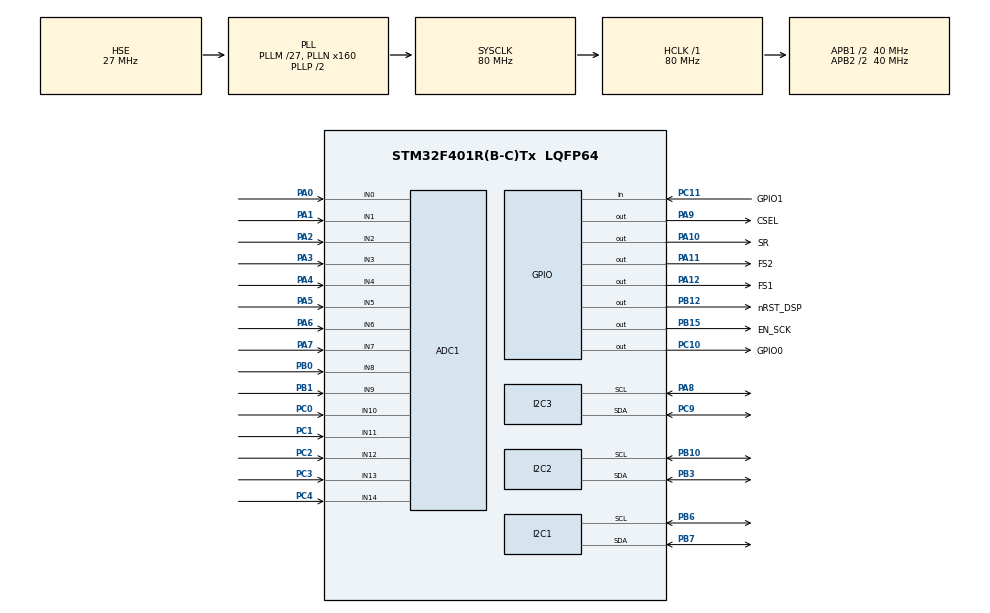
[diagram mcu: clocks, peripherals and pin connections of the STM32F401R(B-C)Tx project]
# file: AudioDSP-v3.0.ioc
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ADC1.Channel-0\#ChannelRegularConversion=ADC_CHANNEL_0
ADC1.Channel-1\#ChannelRegularConversion=ADC_CHANNEL_1
ADC1.Channel-10\#ChannelRegularConversion=ADC_CHANNEL_10
ADC1.Channel-11\#ChannelRegularConversion=ADC_CHANNEL_11
ADC1.Channel-12\#ChannelRegularConversion=ADC_CHANNEL_12
ADC1.Channel-13\#ChannelRegularConversion=ADC_CHANNEL_13
ADC1.Channel-14\#ChannelRegularConversion=ADC_CHANNEL_14
ADC1.Channel-2\#ChannelRegularConversion=ADC_CHANNEL_2
ADC1.Channel-3\#ChannelRegularConversion=ADC_CHANNEL_3
ADC1.Channel-4\#ChannelRegularConversion=ADC_CHANNEL_4
ADC1.Channel-5\#ChannelRegularConversion=ADC_CHANNEL_5
ADC1.Channel-6\#ChannelRegularConversion=ADC_CHANNEL_6
ADC1.Channel-7\#ChannelRegularConversion=ADC_CHANNEL_7
ADC1.Channel-8\#ChannelRegularConversion=ADC_CHANNEL_8
ADC1.Channel-9\#ChannelRegularConversion=ADC_CHANNEL_9
ADC1.EOCSelection=ADC_EOC_SEQ_CONV
ADC1.ExternalTrigConv=ADC_EXTERNALTRIGCONV_T2_TRGO
ADC1.NbrOfConversion=15
ADC1.NbrOfConversionFlag=1
ADC1.Rank-0\#ChannelRegularConversion=1
ADC1.Rank-1\#ChannelRegularConversion=2
ADC1.Rank-10\#ChannelRegularConversion=11
ADC1.Rank-11\#ChannelRegularConversion=12
ADC1.Rank-12\#ChannelRegularConversion=13
ADC1.Rank-13\#ChannelRegularConversion=14
ADC1.Rank-14\#ChannelRegularConversion=15
ADC1.Rank-2\#ChannelRegularConversion=3
ADC1.Rank-3\#ChannelRegularConversion=4
ADC1.Rank-4\#ChannelRegularConversion=5
ADC1.Rank-5\#ChannelRegularConversion=6
ADC1.Rank-6\#ChannelRegularConversion=7
ADC1.Rank-7\#ChannelRegularConversion=8
ADC1.Rank-8\#ChannelRegularConversion=9
ADC1.Rank-9\#ChannelRegularConversion=10
ADC1.SamplingTime-0\#ChannelRegularConversion=ADC_SAMPLETIME_84CYCLES
ADC1.SamplingTime-1\#ChannelRegularConversion=ADC_SAMPLETIME_84CYCLES
ADC1.SamplingTime-10\#ChannelRegularConversion=ADC_SAMPLETIME_84CYCLES
ADC1.SamplingTime-11\#ChannelRegularConversion=ADC_SAMPLETIME_84CYCLES
ADC1.SamplingTime-12\#ChannelRegularConversion=ADC_SAMPLETIME_84CYCLES
ADC1.SamplingTime-13\#ChannelRegularConversion=ADC_SAMPLETIME_84CYCLES
ADC1.SamplingTime-14\#ChannelRegularConversion=ADC_SAMPLETIME_84CYCLES
ADC1.SamplingTime-2\#ChannelRegularConversion=ADC_SAMPLETIME_84CYCLES
ADC1.SamplingTime-3\#ChannelRegularConversion=ADC_SAMPLETIME_84CYCLES
ADC1.SamplingTime-4\#ChannelRegularConversion=ADC_SAMPLETIME_84CYCLES
ADC1.SamplingTime-5\#ChannelRegularConversion=ADC_SAMPLETIME_84CYCLES
ADC1.SamplingTime-6\#ChannelRegularConversion=ADC_SAMPLETIME_84CYCLES
ADC1.SamplingTime-7\#ChannelRegularConversion=ADC_SAMPLETIME_84CYCLES
ADC1.SamplingTime-8\#ChannelRegularConversion=ADC_SAMPLETIME_84CYCLES
ADC1.SamplingTime-9\#ChannelRegularConversion=ADC_SAMPLETIME_84CYCLES
ADC1.ScanConvMode=ENABLE
ADC1.master=1
Dma.ADC1.0.Direction=DMA_PERIPH_TO_MEMORY
Dma.ADC1.0.FIFOMode=DMA_FIFOMODE_DISABLE
Dma.ADC1.0.Instance=DMA2_Stream0
Dma.ADC1.0.MemDataAlignment=DMA_MDATAALIGN_WORD
Dma.ADC1.0.MemInc=DMA_MINC_ENABLE
Dma.ADC1.0.Mode=DMA_CIRCULAR
Dma.ADC1.0.PeriphDataAlignment=DMA_PDATAALIGN_WORD
Dma.ADC1.0.PeriphInc=DMA_PINC_DISABLE
Dma.ADC1.0.Priority=DMA_PRIORITY_LOW
Dma.Request0=ADC1
I2C1.I2C_Mode=I2C_Fast
I2C2.I2C_Mode=I2C_Fast
Mcu.Family=STM32F4
Mcu.Name=STM32F401R(B-C)Tx
Mcu.Package=LQFP64
NVIC.DMA2_Stream0_IRQn=true\:0\:0\:false\:false\:true\:false\:true\:true
NVIC.PriorityGroup=NVIC_PRIORITYGROUP_4
PA0-WKUP.Signal=ADCx_IN0
PA1.Signal=ADCx_IN1
PA10.GPIO_Label=SR
PA10.GPIO_ModeDefaultOutputPP=GPIO_MODE_OUTPUT_PP
PA10.GPIO_PuPd=GPIO_PULLUP
PA10.GPIO_Speed=GPIO_SPEED_FREQ_HIGH
PA10.Signal=GPIO_Output
PA11.GPIO_Label=FS2
PA11.GPIO_ModeDefaultOutputPP=GPIO_MODE_OUTPUT_PP
PA11.GPIO_PuPd=GPIO_PULLUP
PA11.GPIO_Speed=GPIO_SPEED_FREQ_HIGH
PA11.Signal=GPIO_Output
PA12.GPIO_Label=FS1
PA12.GPIO_ModeDefaultOutputPP=GPIO_MODE_OUTPUT_PP
PA12.GPIO_PuPd=GPIO_PULLUP
PA12.GPIO_Speed=GPIO_SPEED_FREQ_HIGH
PA12.Signal=GPIO_Output
PA13.GPIO_Label=SWDIO
PA13.Mode=Serial_Wire
PA13.Signal=SYS_JTMS-SWDIO
PA14.GPIO_Label=SWCLK
PA14.Mode=Serial_Wire
PA14.Signal=SYS_JTCK-SWCLK
PA2.Signal=ADCx_IN2
PA3.Signal=ADCx_IN3
PA4.Signal=ADCx_IN4
PA5.Signal=ADCx_IN5
PA6.Signal=ADCx_IN6
PA7.Signal=ADCx_IN7
PA8.Mode=I2C
PA8.Signal=I2C3_SCL
PA9.GPIO_Label=CSEL
PA9.GPIO_ModeDefaultOutputPP=GPIO_MODE_OUTPUT_PP
PA9.GPIO_PuPd=GPIO_PULLUP
PA9.GPIO_Speed=GPIO_SPEED_FREQ_HIGH
PA9.Signal=GPIO_Output
PB0.Signal=ADCx_IN8
PB1.Signal=ADCx_IN9
PB10.Mode=I2C
PB10.Signal=I2C2_SCL
PB12.GPIO_Label=nRST_DSP
PB12.GPIO_ModeDefaultOutputPP=GPIO_MODE_OUTPUT_OD
PB12.GPIO_PuPd=GPIO_PULLUP
PB12.GPIO_Speed=GPIO_SPEED_FREQ_HIGH
PB12.PinState=GPIO_PIN_SET
PB12.Signal=GPIO_Output
PB15.GPIO_Label=EN_SCK
PB15.GPIO_ModeDefaultOutputPP=GPIO_MODE_OUTPUT_OD
PB15.GPIO_PuPd=GPIO_PULLUP
PB15.GPIO_Speed=GPIO_SPEED_FREQ_HIGH
PB15.Signal=GPIO_Output
PB3.Mode=I2C
PB3.Signal=I2C2_SDA
PB6.Mode=I2C
PB6.Signal=I2C1_SCL
PB7.Mode=I2C
PB7.Signal=I2C1_SDA
PC0.Signal=ADCx_IN10
PC1.Signal=ADCx_IN11
PC10.GPIO_Label=GPIO0
PC10.Signal=GPIO_Output
PC11.GPIO_Label=GPIO1
PC11.GPIO_PuPd=GPIO_PULLUP
PC11.Signal=GPIO_Input
PC2.Signal=ADCx_IN12
PC3.Signal=ADCx_IN13
PC4.Signal=ADCx_IN14
PC9.Mode=I2C
PC9.Signal=I2C3_SDA
PH0\ -\ OSC_IN.GPIO_Label=CLK_IN
PH0\ -\ OSC_IN.Mode=HSE-External-Clock-Source
PH0\ -\ OSC_IN.Signal=RCC_OSC_IN
PH1\ -\ OSC_OUT.Mode=HSE-External-Clock-Source
PH1\ -\ OSC_OUT.Signal=RCC_OSC_OUT
ProjectManager.HeapSize=0x200
ProjectManager.StackSize=0x400
ProjectManager.TargetToolchain=STM32CubeIDE
RCC.48MHZClocksFreq_Value=40000000
RCC.AHBFreq_Value=80000000
RCC.APB1CLKDivider=RCC_HCLK_DIV2
RCC.APB1Freq_Value=40000000
RCC.APB1TimFreq_Value=80000000
RCC.APB2CLKDivider=RCC_HCLK_DIV2
RCC.APB2Freq_Value=40000000
RCC.APB2TimFreq_Value=80000000
RCC.CortexFreq_Value=80000000
RCC.HCLKFreq_Value=80000000
RCC.HSE_VALUE=27000000
RCC.HSI_VALUE=16000000
RCC.LSE_VALUE=32768
RCC.PLLM=27
RCC.PLLN=160
RCC.PLLSourceVirtual=RCC_PLLSOURCE_HSE
RCC.SYSCLKFreq_VALUE=80000000
RCC.SYSCLKSource=RCC_SYSCLKSOURCE_PLLCLK
RCC.VCOOutputFreq_Value=160000000
SH.ADCx_IN0.0=ADC1_IN0,IN0
SH.ADCx_IN1.0=ADC1_IN1,IN1
SH.ADCx_IN10.0=ADC1_IN10,IN10
SH.ADCx_IN11.0=ADC1_IN11,IN11
SH.ADCx_IN12.0=ADC1_IN12,IN12
SH.ADCx_IN13.0=ADC1_IN13,IN13
SH.ADCx_IN14.0=ADC1_IN14,IN14
SH.ADCx_IN2.0=ADC1_IN2,IN2
SH.ADCx_IN3.0=ADC1_IN3,IN3
SH.ADCx_IN4.0=ADC1_IN4,IN4
SH.ADCx_IN5.0=ADC1_IN5,IN5
SH.ADCx_IN6.0=ADC1_IN6,IN6
SH.ADCx_IN7.0=ADC1_IN7,IN7
SH.ADCx_IN8.0=ADC1_IN8,IN8
SH.ADCx_IN9.0=ADC1_IN9,IN9
TIM2.Period=500-1
TIM2.Prescaler=8000
TIM2.TIM_MasterOutputTrigger=TIM_TRGO_UPDATE
TIM4.AutoReloadPreload=TIM_AUTORELOAD_PRELOAD_DISABLE
TIM4.Period=123
TIM4.Prescaler=80 - 1
VP_TIM2_VS_ClockSourceINT.Mode=Internal
VP_TIM4_VS_ClockSourceINT.Mode=Internal
board=custom

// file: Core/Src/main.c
/* USER CODE BEGIN Header */
/**
  ******************************************************************************
  * @file           : main.c
  * @brief          : Main program body
  ******************************************************************************
  * @attention
  *
  * <h2><center>&copy; Copyright (c) 2023 STMicroelectronics.
  * All rights reserved.</center></h2>
  *
  * This software component is licensed by ST under BSD 3-Clause license,
  * the "License"; You may not use this file except in compliance with the
  * License. You may obtain a copy of the License at:
  *                        opensource.org/licenses/BSD-3-Clause
  *
  ******************************************************************************
  */
/* USER CODE END Header */
#include "main.h"

/* USER CODE BEGIN Includes */
#include "DSP/SigmaStudioFW.h"

#include "DSP/DSP_IC_1.h"
#include "DSP/DSP_IC_1_PARAM.h"

#include "math.h"
/* USER CODE END Includes */

/* USER CODE BEGIN PD */
#define ADC_POT 15
#define VOL_ARRAY 11
#define LOUD_LOW_ARRAY 12
#define LOUD_HIGH_ARRAY 13
#define LOUD_GRL_ARRAY 14

#define ADC_ADDR 0x94
#define DAC_ADDR 0x98
/* USER CODE END PD */

ADC_HandleTypeDef hadc1;
DMA_HandleTypeDef hdma_adc1;

I2C_HandleTypeDef hi2c1;
I2C_HandleTypeDef hi2c2;
I2C_HandleTypeDef hi2c3;

TIM_HandleTypeDef htim2;
TIM_HandleTypeDef htim4;

/* USER CODE BEGIN PV */
HAL_StatusTypeDef stat;

uint8_t auxData[2];

uint32_t value[ADC_POT]; // To store ADC values
uint16_t pote[ADC_POT];  // Potentiometer values 0-29
uint16_t log_in_table[30];
uint16_t linear_in_table[30];
uint16_t flag[ADC_POT];  // Flag for different potentiometers
uint8_t update = 0;

ADI_REG_TYPE aux[4];
ADI_REG_TYPE data_SafeLoad[4]; // Per slot
ADI_REG_TYPE address_SafeLoad[4]; // 2 Bytes per address
ADI_REG_TYPE num_SafeLoad[4];
/* USER CODE END PV */

void SystemClock_Config(void);
static void MX_GPIO_Init(void);
static void MX_DMA_Init(void);
static void MX_I2C2_Init(void);
static void MX_I2C3_Init(void);
static void MX_ADC1_Init(void);
static void MX_I2C1_Init(void);
static void MX_TIM2_Init(void);
static void MX_TIM4_Init(void);
/* USER CODE BEGIN PFP */
void HAL_ADC_ConvCpltCallback(ADC_HandleTypeDef* hadc);
void delay_us(uint16_t us);
/* USER CODE END PFP */

int main(void)
{
  /* USER CODE BEGIN 1 */
	  uint16_t k = 0;
	  uint16_t pote_aux = 0;
	  uint16_t BandAddress[ADC_POT]; // Addresses of filters
	  uint32_t vol_data[30]; // Fixed volume values
	  uint32_t boost_data[30]; // Fixed boost loudness values
	  uint32_t comp_data[30]; // Fixed compensation values

	  BandAddress[0] = MOD_BAND32_SEL_DCINPALG145X1VALUE_ADDR;
	  BandAddress[1] = MOD_BAND64_SEL_DCINPALG145X2VALUE_ADDR;
	  BandAddress[2] = MOD_BAND128_SEL_DCINPALG145X3VALUE_ADDR;
	  BandAddress[3] = MOD_BAND256_SEL_DCINPALG145X4VALUE_ADDR;
	  BandAddress[4] = MOD_BAND512_SEL_DCINPALG145X5VALUE_ADDR;
	  BandAddress[5] = MOD_BAND1K_SEL_DCINPALG145X6VALUE_ADDR;
	  BandAddress[6] = MOD_BAND2K_SEL_DCINPALG145X7VALUE_ADDR;
	  BandAddress[7] = MOD_BAND4K_SEL_DCINPALG145X8VALUE_ADDR;
	  BandAddress[8] = MOD_BAND8K_SEL_DCINPALG145X9VALUE_ADDR;
	  BandAddress[9] = MOD_BAND16K_SEL_DCINPALG145X10VALUE_ADDR;
	  BandAddress[10] = MOD_BANDSUB_SEL_DCINPALG145X11VALUE_ADDR;
	  BandAddress[VOL_ARRAY] = MOD_VOL_GAINALGNS145X1GAIN_ADDR;
	  BandAddress[LOUD_LOW_ARRAY] = MOD_LOUD_ALG0_LEVEL0_ADDR;
	  BandAddress[LOUD_HIGH_ARRAY] = MOD_LOUD_ALG0_LEVEL1_ADDR;
	  BandAddress[LOUD_GRL_ARRAY] = MOD_LOUD_SEL_DCINPALG145X12VALUE_ADDR;

	  // 8.24 FixPoint
	  vol_data[29] = 0x01000000; // 0dB
	  vol_data[28] = 0x00e42904; // -1dB
	  vol_data[27] = 0x00cb5918; // -2dB
	  vol_data[26] = 0x00b53bee; // -3dB
	  vol_data[25] = 0x00a1866a; // -4dB
	  vol_data[24] = 0x008ff598; // -5dB
	  vol_data[23] = 0x00804dce; // -6dB
	  vol_data[22] = 0x006fbf80; // -7dB (-7.2dB)
	  vol_data[21] = 0x0065ea58; // -8dB
	  vol_data[20] = 0x005ad50c; // -9dB
	  vol_data[19] = 0x0050f44c; // -10dB
	  vol_data[18] = 0x0048268c; // -11dB
	  vol_data[17] = 0x00404de6; // -12dB
	  vol_data[16] = 0x00394fae; // -13dB
	  vol_data[15] = 0x00331426; // -14dB
	  vol_data[14] = 0x002d8620; // -15dB
	  vol_data[13] = 0x002892c0; // -16dB
	  vol_data[12] = 0x00242934; // -17dB
	  vol_data[11] = 0x00203a7e; // -18dB
	  vol_data[10] = 0x001cb942; // -19dB
	  vol_data[9] = 0x00199998; // -20dB
	  vol_data[8] = 0x0016d0e6; // -21dB
	  vol_data[7] = 0x001455b4; // -22dB
	  vol_data[6] = 0x00121f96; // -23dB
	  vol_data[5] = 0x0010270a; // -24dB
	  vol_data[4] = 0x000e655c; // -25dB
	  vol_data[3] = 0x000cd494; // -26dB
	  vol_data[2] = 0x000b6f62; // -27dB
	  vol_data[1] = 0x000a3108; // -28dB
	  vol_data[0] = 0x0009154e; // -29dB

	  // 8.24 Compensation FixPoint
	  comp_data[29] = 0x01000000; // 0dB
	  comp_data[28] = 0x011F3B64; // +1dB
	  comp_data[27] = 0x014248E8; // +2dB
	  comp_data[26] = 0x01699C0F; // +3dB
	  comp_data[25] = 0x0195BB8C; // +4dB
	  comp_data[24] = 0x01C73D51; // +5dB
	  comp_data[23] = 0x02000000; // +6dB
	  comp_data[22] = 0x023D1CD1; // +7dB
	  comp_data[21] = 0x02830AFD; // +8dB
	  comp_data[20] = 0x02D1818B; // +9dB
	  comp_data[19] = 0x03298B07; // +10dB
	  comp_data[18] = 0x038C5280; // +11dB
	  comp_data[17] = 0x03FB2783; // +12dB
	  comp_data[16] = 0x0477828F; // +13dB
	  comp_data[15] = 0x05030A10; // +14dB
	  comp_data[14] = 0x059F9802; // +15dB
	  comp_data[13] = 0x064F4034; // +16dB
	  comp_data[12] = 0x07145759; // +17dB
	  comp_data[11] = 0x07F17AF3; // +18dB
	  comp_data[10] = 0x08E99A36; // +19dB
	  comp_data[9] = 0x0A000000; // +20dB
	  comp_data[8] = 0x0B385E03; // +21dB
	  comp_data[7] = 0x0C96D95B; // +22dB
	  comp_data[6] = 0x0E20189B; // +23dB
	  comp_data[5] = 0x0FD9539A; // +24dB
	  comp_data[4] = 0x11C86531; // +25dB
	  comp_data[3] = 0x13F3DF1C; // +26dB
	  comp_data[2] = 0x16632049; // +27dB
	  comp_data[1] = 0x191E6DE4; // +28dB
	  comp_data[0] = 0x1C2F0F70; // +29dB

	  // 8.24 FixPoint
	  boost_data[29] = 0x02800000; // 2.50
	  boost_data[28] = 0x02666666; // 2.40
	  boost_data[27] = 0x02570a3c; // 2.34
	  boost_data[26] = 0x02451eb8; // 2.27
	  boost_data[25] = 0x02333332; // 2.20
	  boost_data[24] = 0x022147ae; // 2.13
	  boost_data[23] = 0x020f5c28; // 2.06
	  boost_data[22] = 0x02000000; // 2.00
	  boost_data[21] = 0x01ee147a; // 1.93
	  boost_data[20] = 0x01dc28f4; // 1.86
	  boost_data[19] = 0x01ca3d70; // 1.79
	  boost_data[18] = 0x01b851ea; // 1.72
	  boost_data[17] = 0x01a8f5c2; // 1.66
	  boost_data[16] = 0x01970a3c; // 1.59
	  boost_data[15] = 0x01851eb8; // 1.52
	  boost_data[14] = 0x01733332; // 1.45
	  boost_data[13] = 0x016147ae; // 1.38
	  boost_data[12] = 0x0151eb84; // 1.32
	  boost_data[11] = 0x01400000; // 1.25
	  boost_data[10] = 0x012e147a; // 1.18
	  boost_data[9] =  0x011c28f4; // 1.11
	  boost_data[8] =  0x010a3d70; // 1.04
	  boost_data[7] =  0x00fae146; // 0.98
	  boost_data[6] =  0x00e8f5c2; // 0.91
	  boost_data[5] =  0x00d70a3c; // 0.84
	  boost_data[4] =  0x00c51eb8; // 0.77
	  boost_data[3] =  0x00b33332; // 0.70
	  boost_data[2] =  0x00a3d70a; // 0.64
	  boost_data[1] =  0x0091eb84; // 0.57
	  boost_data[0] =  0x00800000; // 0.50

	  for(k=0; k<30; k++)
	  {
		  log_in_table[k] = 4096.0*log10(1.0+(3.0*k/10.0));
		  linear_in_table[k] = 4096*k/30;
	  }
  /* USER CODE END 1 */

  /* MCU Configuration--------------------------------------------------------*/

  /* Reset of all peripherals, Initializes the Flash interface and the Systick. */
  HAL_Init();

  /* Configure the system clock */
  SystemClock_Config();

  /* USER CODE BEGIN SysInit */
//  - Keeping this just to remember order
//  MX_GPIO_Init();
//  MX_I2C1_Init();
//  MX_DMA_Init();
//  MX_I2C2_Init();
//  MX_ADC1_Init();
//  MX_I2C3_Init();
//  MX_TIM2_Init();
  /* USER CODE END SysInit */

  /* Initialize all configured peripherals */
  MX_GPIO_Init();
  MX_DMA_Init();
  MX_I2C2_Init();
  MX_I2C3_Init();
  MX_ADC1_Init();
  MX_I2C1_Init();
  MX_TIM2_Init();
  MX_TIM4_Init();
  /* USER CODE BEGIN 2 */
  HAL_TIM_Base_Start(&htim4);
  // Disable DSP
  HAL_GPIO_WritePin(nRST_DSP_GPIO_Port, nRST_DSP_Pin, GPIO_PIN_RESET);

  // Disable CLK
  HAL_GPIO_WritePin(EN_SCK_GPIO_Port, EN_SCK_Pin, GPIO_PIN_RESET);

  // Configure Sampling Rate SR = Standard => 0
  //							  Double   => 1
  HAL_GPIO_WritePin(SR_GPIO_Port, SR_Pin, GPIO_PIN_SET);
  // Configure System Clock SCKO1 CSEL = 0 (default)
  HAL_GPIO_WritePin(CSEL_GPIO_Port, CSEL_Pin, GPIO_PIN_RESET);
  // Configure Sampling Frequency Group = 32KHz => 10
  HAL_GPIO_WritePin(FS2_GPIO_Port, FS2_Pin, GPIO_PIN_SET);
  HAL_GPIO_WritePin(FS1_GPIO_Port, FS1_Pin, GPIO_PIN_RESET);

  // Enable CLK
  HAL_GPIO_WritePin(EN_SCK_GPIO_Port, EN_SCK_Pin, GPIO_PIN_SET);

  HAL_Delay(500);

  // Configure DAC format to I2S 16-24 bit, slow roll-off
  auxData[0] = 0b00000100;
  auxData[1] = 0x00;
  stat = HAL_I2C_Mem_Write(&hi2c3, DAC_ADDR, 0x09, 1, auxData, 1, 1000);

  auxData[0] = 0b00101001;
  auxData[1] = 0x00;
  stat = HAL_I2C_Mem_Write(&hi2c3, DAC_ADDR, 0x0A, 1, auxData, 1, 1000);

  // Configure DAC over-sampling wide, sharp roll-off
  auxData[0] = 0b10000000;
  auxData[1] = 0x00;
  stat = HAL_I2C_Mem_Write(&hi2c3, DAC_ADDR, 0x0C, 1, auxData, 1, 1000);

  // Enable DSP
  HAL_GPIO_WritePin(nRST_DSP_GPIO_Port, nRST_DSP_Pin, GPIO_PIN_SET);

  HAL_Delay(100);

  default_download_IC_1();
  HAL_Delay(500);
  //Configure ADCs clock settings
//  auxData[0] = 0b01000000;
//  stat = HAL_I2C_Mem_Write(&hi2c1, ADC_ADDR, 0x20, 1, auxData, 1, 1000);
//
//  auxData[0] = 0b00000001;
//  stat = HAL_I2C_Mem_Write(&hi2c1, ADC_ADDR, 0x0D, 1, auxData, 1, 1000);
//  stat = HAL_I2C_Mem_Write(&hi2c2, ADC_ADDR, 0x0D, 1, auxData, 1, 1000);
//  stat = HAL_I2C_Mem_Write(&hi2c3, ADC_ADDR, 0x0D, 1, auxData, 1, 1000);
//
//  stat = HAL_I2C_Mem_Write(&hi2c1, ADC_ADDR, 0x0E, 1, auxData, 1, 1000);
//  stat = HAL_I2C_Mem_Write(&hi2c2, ADC_ADDR, 0x0E, 1, auxData, 1, 1000);
//  stat = HAL_I2C_Mem_Write(&hi2c3, ADC_ADDR, 0x0E, 1, auxData, 1, 1000);

  for(k=0; k<ADC_POT; k++)
  {
	  flag[k] = 1;
  }

  HAL_TIM_Base_Start(&htim2);
  HAL_ADC_Start_DMA(&hadc1, value, ADC_POT);

  HAL_Delay(3000);

  /* USER CODE END 2 */

  /* Infinite loop */
  while (1)
  {

    /* USER CODE BEGIN 3 */
	  data_SafeLoad[2] = 0x00;
	  data_SafeLoad[1] = 0x00;
	  data_SafeLoad[0] = 0x00;

	  address_SafeLoad[1] = 0x00;
	  address_SafeLoad[0] = 0x00;

	  num_SafeLoad[3] = 0x01;
 	  num_SafeLoad[2] = 0x00;
	  num_SafeLoad[1] = 0x00;
	  num_SafeLoad[0] = 0x00;

	  if(update == 1)
	  {
		  for(k=0; k<VOL_ARRAY; k++) // Filters 32Hz - 16KHz + Subwoofer
		  {
			  if(flag[k] == 1)
			  {
				  flag[k] = 0;
				  data_SafeLoad[3] = 29 - pote[k];
				  address_SafeLoad[3] = 0xFF & (BandAddress[k]);
				  address_SafeLoad[2] = 0xFF & ((BandAddress[k])>>8);
				  SIGMA_WRITE_REGISTER_BLOCK(DEVICE_ADDR_IC_1, MOD_SAFELOADMODULE_DATA_SAFELOAD0_ADDR, 4, data_SafeLoad);
				  SIGMA_WRITE_REGISTER_BLOCK(DEVICE_ADDR_IC_1, MOD_SAFELOADMODULE_ADDRESS_SAFELOAD_ADDR, 4, address_SafeLoad);
				  SIGMA_WRITE_REGISTER_BLOCK(DEVICE_ADDR_IC_1, MOD_SAFELOADMODULE_NUM_SAFELOAD_ADDR, 4, num_SafeLoad);
				  delay_us(100);
			  }

		  }

		  if(flag[VOL_ARRAY] == 1)
		  {
			  flag[VOL_ARRAY] = 0;
			  pote_aux = 29 - pote[VOL_ARRAY];

			  data_SafeLoad[3] = 0xFF & (vol_data[pote_aux]);
			  data_SafeLoad[2] = 0xFF & ((vol_data[pote_aux])>>8);
			  data_SafeLoad[1] = 0xFF & ((vol_data[pote_aux])>>16);
			  data_SafeLoad[0] = 0xFF & ((vol_data[pote_aux])>>24);
			  address_SafeLoad[3] = 0xFF & (BandAddress[VOL_ARRAY]);
			  address_SafeLoad[2] = 0xFF & ((BandAddress[VOL_ARRAY])>>8);
			  SIGMA_WRITE_REGISTER_BLOCK(DEVICE_ADDR_IC_1, MOD_SAFELOADMODULE_DATA_SAFELOAD0_ADDR, 4, data_SafeLoad);
			  SIGMA_WRITE_REGISTER_BLOCK(DEVICE_ADDR_IC_1, MOD_SAFELOADMODULE_ADDRESS_SAFELOAD_ADDR, 4, address_SafeLoad);
			  SIGMA_WRITE_REGISTER_BLOCK(DEVICE_ADDR_IC_1, MOD_SAFELOADMODULE_NUM_SAFELOAD_ADDR, 4, num_SafeLoad);
			  delay_us(100);
		  }

		  if(flag[LOUD_LOW_ARRAY] == 1)
		  {
			  flag[LOUD_LOW_ARRAY] = 0;
			  pote_aux = 29 - pote[LOUD_LOW_ARRAY];

			  data_SafeLoad[3] = 0xFF & (boost_data[pote_aux]);
			  data_SafeLoad[2] = 0xFF & ((boost_data[pote_aux])>>8);
			  data_SafeLoad[1] = 0xFF & ((boost_data[pote_aux])>>16);
			  data_SafeLoad[0] = 0xFF & ((boost_data[pote_aux])>>24);
			  address_SafeLoad[3] = 0xFF & (BandAddress[LOUD_LOW_ARRAY]);
			  address_SafeLoad[2] = 0xFF & ((BandAddress[LOUD_LOW_ARRAY])>>8);
			  SIGMA_WRITE_REGISTER_BLOCK(DEVICE_ADDR_IC_1, MOD_SAFELOADMODULE_DATA_SAFELOAD0_ADDR, 4, data_SafeLoad);
			  SIGMA_WRITE_REGISTER_BLOCK(DEVICE_ADDR_IC_1, MOD_SAFELOADMODULE_ADDRESS_SAFELOAD_ADDR, 4, address_SafeLoad);
			  SIGMA_WRITE_REGISTER_BLOCK(DEVICE_ADDR_IC_1, MOD_SAFELOADMODULE_NUM_SAFELOAD_ADDR, 4, num_SafeLoad);
			  delay_us(100);
		  }

		  if(flag[LOUD_HIGH_ARRAY] == 1)
		  {
			  flag[LOUD_HIGH_ARRAY] = 0;
			  pote_aux = 29 - pote[LOUD_HIGH_ARRAY];

			  data_SafeLoad[3] = 0xFF & (boost_data[pote_aux]);
			  data_SafeLoad[2] = 0xFF & ((boost_data[pote_aux])>>8);
			  data_SafeLoad[1] = 0xFF & ((boost_data[pote_aux])>>16);
			  data_SafeLoad[0] = 0xFF & ((boost_data[pote_aux])>>24);
			  address_SafeLoad[3] = 0xFF & (BandAddress[LOUD_HIGH_ARRAY]);
			  address_SafeLoad[2] = 0xFF & ((BandAddress[LOUD_HIGH_ARRAY])>>8);
			  SIGMA_WRITE_REGISTER_BLOCK(DEVICE_ADDR_IC_1, MOD_SAFELOADMODULE_DATA_SAFELOAD0_ADDR, 4, data_SafeLoad);
			  SIGMA_WRITE_REGISTER_BLOCK(DEVICE_ADDR_IC_1, MOD_SAFELOADMODULE_ADDRESS_SAFELOAD_ADDR, 4, address_SafeLoad);
			  SIGMA_WRITE_REGISTER_BLOCK(DEVICE_ADDR_IC_1, MOD_SAFELOADMODULE_NUM_SAFELOAD_ADDR, 4, num_SafeLoad);
			  delay_us(100);
		  }

		  if(flag[LOUD_GRL_ARRAY] == 1)
		  {
			  flag[LOUD_GRL_ARRAY] = 0;
			  pote_aux = pote[LOUD_GRL_ARRAY];

			  data_SafeLoad[3] = 0xFF & (vol_data[pote_aux]);
			  data_SafeLoad[2] = 0xFF & ((vol_data[pote_aux])>>8);
			  data_SafeLoad[1] = 0xFF & ((vol_data[pote_aux])>>16);
			  data_SafeLoad[0] = 0xFF & ((vol_data[pote_aux])>>24);
			  address_SafeLoad[3] = 0xFF & (BandAddress[LOUD_GRL_ARRAY]);
			  address_SafeLoad[2] = 0xFF & ((BandAddress[LOUD_GRL_ARRAY])>>8);
			  SIGMA_WRITE_REGISTER_BLOCK(DEVICE_ADDR_IC_1, MOD_SAFELOADMODULE_DATA_SAFELOAD0_ADDR, 4, data_SafeLoad);
			  SIGMA_WRITE_REGISTER_BLOCK(DEVICE_ADDR_IC_1, MOD_SAFELOADMODULE_ADDRESS_SAFELOAD_ADDR, 4, address_SafeLoad);
			  SIGMA_WRITE_REGISTER_BLOCK(DEVICE_ADDR_IC_1, MOD_SAFELOADMODULE_NUM_SAFELOAD_ADDR, 4, num_SafeLoad);
			  delay_us(100);

			  data_SafeLoad[3] = 0xFF & (comp_data[pote_aux]);
			  data_SafeLoad[2] = 0xFF & ((comp_data[pote_aux])>>8);
			  data_SafeLoad[1] = 0xFF & ((comp_data[pote_aux])>>16);
			  data_SafeLoad[0] = 0xFF & ((comp_data[pote_aux])>>24);
			  address_SafeLoad[3] = 0xFF & (MOD_LOUDCOMP_GAINALGNS145X2GAIN_ADDR);
			  address_SafeLoad[2] = 0xFF & ((MOD_LOUDCOMP_GAINALGNS145X2GAIN_ADDR)>>8);
			  SIGMA_WRITE_REGISTER_BLOCK(DEVICE_ADDR_IC_1, MOD_SAFELOADMODULE_DATA_SAFELOAD0_ADDR, 4, data_SafeLoad);
			  SIGMA_WRITE_REGISTER_BLOCK(DEVICE_ADDR_IC_1, MOD_SAFELOADMODULE_ADDRESS_SAFELOAD_ADDR, 4, address_SafeLoad);
			  SIGMA_WRITE_REGISTER_BLOCK(DEVICE_ADDR_IC_1, MOD_SAFELOADMODULE_NUM_SAFELOAD_ADDR, 4, num_SafeLoad);
			  delay_us(100);
		  }

		  update = 0;
		  HAL_ADC_Start_DMA(&hadc1, value, ADC_POT);
	  }

  }
  /* USER CODE END 3 */
}

void SystemClock_Config(void)
{
  RCC_OscInitTypeDef RCC_OscInitStruct = {0};
  RCC_ClkInitTypeDef RCC_ClkInitStruct = {0};

  /** Configure the main internal regulator output voltage
  */
  __HAL_RCC_PWR_CLK_ENABLE();
  __HAL_PWR_VOLTAGESCALING_CONFIG(PWR_REGULATOR_VOLTAGE_SCALE2);
  /** Initializes the RCC Oscillators according to the specified parameters
  * in the RCC_OscInitTypeDef structure.
  */
  RCC_OscInitStruct.OscillatorType = RCC_OSCILLATORTYPE_HSE;
  RCC_OscInitStruct.HSEState = RCC_HSE_BYPASS;
  RCC_OscInitStruct.PLL.PLLState = RCC_PLL_ON;
  RCC_OscInitStruct.PLL.PLLSource = RCC_PLLSOURCE_HSE;
  RCC_OscInitStruct.PLL.PLLM = 27;
  RCC_OscInitStruct.PLL.PLLN = 160;
  RCC_OscInitStruct.PLL.PLLP = RCC_PLLP_DIV2;
  RCC_OscInitStruct.PLL.PLLQ = 4;
  if (HAL_RCC_OscConfig(&RCC_OscInitStruct) != HAL_OK)
  {
    Error_Handler();
  }
  /** Initializes the CPU, AHB and APB buses clocks
  */
  RCC_ClkInitStruct.ClockType = RCC_CLOCKTYPE_HCLK|RCC_CLOCKTYPE_SYSCLK
                              |RCC_CLOCKTYPE_PCLK1|RCC_CLOCKTYPE_PCLK2;
  RCC_ClkInitStruct.SYSCLKSource = RCC_SYSCLKSOURCE_PLLCLK;
  RCC_ClkInitStruct.AHBCLKDivider = RCC_SYSCLK_DIV1;
  RCC_ClkInitStruct.APB1CLKDivider = RCC_HCLK_DIV2;
  RCC_ClkInitStruct.APB2CLKDivider = RCC_HCLK_DIV2;

  if (HAL_RCC_ClockConfig(&RCC_ClkInitStruct, FLASH_LATENCY_2) != HAL_OK)
  {
    Error_Handler();
  }
}

static void MX_ADC1_Init(void)
{

  ADC_ChannelConfTypeDef sConfig = {0};

  /** Configure the global features of the ADC (Clock, Resolution, Data Alignment and number of conversion)
  */
  hadc1.Instance = ADC1;
  hadc1.Init.ClockPrescaler = ADC_CLOCK_SYNC_PCLK_DIV2;
  hadc1.Init.Resolution = ADC_RESOLUTION_12B;
  hadc1.Init.ScanConvMode = ENABLE;
  hadc1.Init.ContinuousConvMode = DISABLE;
  hadc1.Init.DiscontinuousConvMode = DISABLE;
  hadc1.Init.ExternalTrigConvEdge = ADC_EXTERNALTRIGCONVEDGE_RISING;
  hadc1.Init.ExternalTrigConv = ADC_EXTERNALTRIGCONV_T2_TRGO;
  hadc1.Init.DataAlign = ADC_DATAALIGN_RIGHT;
  hadc1.Init.NbrOfConversion = 15;
  hadc1.Init.DMAContinuousRequests = DISABLE;
  hadc1.Init.EOCSelection = ADC_EOC_SEQ_CONV;
  if (HAL_ADC_Init(&hadc1) != HAL_OK)
  {
    Error_Handler();
  }
  /** Configure for the selected ADC regular channel its corresponding rank in the sequencer and its sample time.
  */
  sConfig.Channel = ADC_CHANNEL_0;
  sConfig.Rank = 1;
  sConfig.SamplingTime = ADC_SAMPLETIME_84CYCLES;
  if (HAL_ADC_ConfigChannel(&hadc1, &sConfig) != HAL_OK)
  {
    Error_Handler();
  }
  /** Configure for the selected ADC regular channel its corresponding rank in the sequencer and its sample time.
  */
  sConfig.Channel = ADC_CHANNEL_1;
  sConfig.Rank = 2;
  if (HAL_ADC_ConfigChannel(&hadc1, &sConfig) != HAL_OK)
  {
    Error_Handler();
  }
  /** Configure for the selected ADC regular channel its corresponding rank in the sequencer and its sample time.
  */
  sConfig.Channel = ADC_CHANNEL_2;
  sConfig.Rank = 3;
  if (HAL_ADC_ConfigChannel(&hadc1, &sConfig) != HAL_OK)
  {
    Error_Handler();
  }
  /** Configure for the selected ADC regular channel its corresponding rank in the sequencer and its sample time.
  */
  sConfig.Channel = ADC_CHANNEL_3;
  sConfig.Rank = 4;
  if (HAL_ADC_ConfigChannel(&hadc1, &sConfig) != HAL_OK)
  {
    Error_Handler();
  }
  /** Configure for the selected ADC regular channel its corresponding rank in the sequencer and its sample time.
  */
  sConfig.Channel = ADC_CHANNEL_4;
  sConfig.Rank = 5;
  if (HAL_ADC_ConfigChannel(&hadc1, &sConfig) != HAL_OK)
  {
    Error_Handler();
  }
  /** Configure for the selected ADC regular channel its corresponding rank in the sequencer and its sample time.
  */
  sConfig.Channel = ADC_CHANNEL_5;
  sConfig.Rank = 6;
  if (HAL_ADC_ConfigChannel(&hadc1, &sConfig) != HAL_OK)
  {
    Error_Handler();
  }
  /** Configure for the selected ADC regular channel its corresponding rank in the sequencer and its sample time.
  */
  sConfig.Channel = ADC_CHANNEL_6;
  sConfig.Rank = 7;
  if (HAL_ADC_ConfigChannel(&hadc1, &sConfig) != HAL_OK)
  {
    Error_Handler();
  }
  /** Configure for the selected ADC regular channel its corresponding rank in the sequencer and its sample time.
  */
  sConfig.Channel = ADC_CHANNEL_7;
  sConfig.Rank = 8;
  if (HAL_ADC_ConfigChannel(&hadc1, &sConfig) != HAL_OK)
  {
    Error_Handler();
  }
  /** Configure for the selected ADC regular channel its corresponding rank in the sequencer and its sample time.
  */
  sConfig.Channel = ADC_CHANNEL_8;
  sConfig.Rank = 9;
  if (HAL_ADC_ConfigChannel(&hadc1, &sConfig) != HAL_OK)
  {
    Error_Handler();
  }
  /** Configure for the selected ADC regular channel its corresponding rank in the sequencer and its sample time.
  */
  sConfig.Channel = ADC_CHANNEL_9;
  sConfig.Rank = 10;
  if (HAL_ADC_ConfigChannel(&hadc1, &sConfig) != HAL_OK)
  {
    Error_Handler();
  }
  /** Configure for the selected ADC regular channel its corresponding rank in the sequencer and its sample time.
  */
  sConfig.Channel = ADC_CHANNEL_10;
  sConfig.Rank = 11;
  if (HAL_ADC_ConfigChannel(&hadc1, &sConfig) != HAL_OK)
  {
    Error_Handler();
  }
  /** Configure for the selected ADC regular channel its corresponding rank in the sequencer and its sample time.
  */
  sConfig.Channel = ADC_CHANNEL_11;
  sConfig.Rank = 12;
  if (HAL_ADC_ConfigChannel(&hadc1, &sConfig) != HAL_OK)
  {
    Error_Handler();
  }
  /** Configure for the selected ADC regular channel its corresponding rank in the sequencer and its sample time.
  */
  sConfig.Channel = ADC_CHANNEL_12;
  sConfig.Rank = 13;
  if (HAL_ADC_ConfigChannel(&hadc1, &sConfig) != HAL_OK)
  {
    Error_Handler();
  }
  /** Configure for the selected ADC regular channel its corresponding rank in the sequencer and its sample time.
  */
  sConfig.Channel = ADC_CHANNEL_13;
  sConfig.Rank = 14;
  if (HAL_ADC_ConfigChannel(&hadc1, &sConfig) != HAL_OK)
  {
    Error_Handler();
  }
  /** Configure for the selected ADC regular channel its corresponding rank in the sequencer and its sample time.
  */
  sConfig.Channel = ADC_CHANNEL_14;
  sConfig.Rank = 15;
  if (HAL_ADC_ConfigChannel(&hadc1, &sConfig) != HAL_OK)
  {
    Error_Handler();
  }

}

static void MX_I2C1_Init(void)
{

  hi2c1.Instance = I2C1;
  hi2c1.Init.ClockSpeed = 400000;
  hi2c1.Init.DutyCycle = I2C_DUTYCYCLE_2;
  hi2c1.Init.OwnAddress1 = 0;
  hi2c1.Init.AddressingMode = I2C_ADDRESSINGMODE_7BIT;
  hi2c1.Init.DualAddressMode = I2C_DUALADDRESS_DISABLE;
  hi2c1.Init.OwnAddress2 = 0;
  hi2c1.Init.GeneralCallMode = I2C_GENERALCALL_DISABLE;
  hi2c1.Init.NoStretchMode = I2C_NOSTRETCH_DISABLE;
  if (HAL_I2C_Init(&hi2c1) != HAL_OK)
  {
    Error_Handler();
  }

}

static void MX_I2C2_Init(void)
{

  hi2c2.Instance = I2C2;
  hi2c2.Init.ClockSpeed = 400000;
  hi2c2.Init.DutyCycle = I2C_DUTYCYCLE_2;
  hi2c2.Init.OwnAddress1 = 0;
  hi2c2.Init.AddressingMode = I2C_ADDRESSINGMODE_7BIT;
  hi2c2.Init.DualAddressMode = I2C_DUALADDRESS_DISABLE;
  hi2c2.Init.OwnAddress2 = 0;
  hi2c2.Init.GeneralCallMode = I2C_GENERALCALL_DISABLE;
  hi2c2.Init.NoStretchMode = I2C_NOSTRETCH_DISABLE;
  if (HAL_I2C_Init(&hi2c2) != HAL_OK)
  {
    Error_Handler();
  }

}

static void MX_I2C3_Init(void)
{

  hi2c3.Instance = I2C3;
  hi2c3.Init.ClockSpeed = 100000;
  hi2c3.Init.DutyCycle = I2C_DUTYCYCLE_2;
  hi2c3.Init.OwnAddress1 = 0;
  hi2c3.Init.AddressingMode = I2C_ADDRESSINGMODE_7BIT;
  hi2c3.Init.DualAddressMode = I2C_DUALADDRESS_DISABLE;
  hi2c3.Init.OwnAddress2 = 0;
  hi2c3.Init.GeneralCallMode = I2C_GENERALCALL_DISABLE;
  hi2c3.Init.NoStretchMode = I2C_NOSTRETCH_DISABLE;
  if (HAL_I2C_Init(&hi2c3) != HAL_OK)
  {
    Error_Handler();
  }

}

static void MX_TIM2_Init(void)
{

  TIM_ClockConfigTypeDef sClockSourceConfig = {0};
  TIM_MasterConfigTypeDef sMasterConfig = {0};

  htim2.Instance = TIM2;
  htim2.Init.Prescaler = 8000;
  htim2.Init.CounterMode = TIM_COUNTERMODE_UP;
  htim2.Init.Period = 500-1;
  htim2.Init.ClockDivision = TIM_CLOCKDIVISION_DIV1;
  htim2.Init.AutoReloadPreload = TIM_AUTORELOAD_PRELOAD_DISABLE;
  if (HAL_TIM_Base_Init(&htim2) != HAL_OK)
  {
    Error_Handler();
  }
  sClockSourceConfig.ClockSource = TIM_CLOCKSOURCE_INTERNAL;
  if (HAL_TIM_ConfigClockSource(&htim2, &sClockSourceConfig) != HAL_OK)
  {
    Error_Handler();
  }
  sMasterConfig.MasterOutputTrigger = TIM_TRGO_UPDATE;
  sMasterConfig.MasterSlaveMode = TIM_MASTERSLAVEMODE_DISABLE;
  if (HAL_TIMEx_MasterConfigSynchronization(&htim2, &sMasterConfig) != HAL_OK)
  {
    Error_Handler();
  }

}

static void MX_TIM4_Init(void)
{

  TIM_ClockConfigTypeDef sClockSourceConfig = {0};
  TIM_MasterConfigTypeDef sMasterConfig = {0};

  htim4.Instance = TIM4;
  htim4.Init.Prescaler = 80 - 1;
  htim4.Init.CounterMode = TIM_COUNTERMODE_UP;
  htim4.Init.Period = 123;
  htim4.Init.ClockDivision = TIM_CLOCKDIVISION_DIV1;
  htim4.Init.AutoReloadPreload = TIM_AUTORELOAD_PRELOAD_DISABLE;
  if (HAL_TIM_Base_Init(&htim4) != HAL_OK)
  {
    Error_Handler();
  }
  sClockSourceConfig.ClockSource = TIM_CLOCKSOURCE_INTERNAL;
  if (HAL_TIM_ConfigClockSource(&htim4, &sClockSourceConfig) != HAL_OK)
  {
    Error_Handler();
  }
  sMasterConfig.MasterOutputTrigger = TIM_TRGO_RESET;
  sMasterConfig.MasterSlaveMode = TIM_MASTERSLAVEMODE_DISABLE;
  if (HAL_TIMEx_MasterConfigSynchronization(&htim4, &sMasterConfig) != HAL_OK)
  {
    Error_Handler();
  }

}

static void MX_DMA_Init(void)
{

  /* DMA controller clock enable */
  __HAL_RCC_DMA2_CLK_ENABLE();

  /* DMA interrupt init */
  /* DMA2_Stream0_IRQn interrupt configuration */
  HAL_NVIC_SetPriority(DMA2_Stream0_IRQn, 0, 0);
  HAL_NVIC_EnableIRQ(DMA2_Stream0_IRQn);

}

static void MX_GPIO_Init(void)
{
  GPIO_InitTypeDef GPIO_InitStruct = {0};

  /* GPIO Ports Clock Enable */
  __HAL_RCC_GPIOH_CLK_ENABLE();
  __HAL_RCC_GPIOC_CLK_ENABLE();
  __HAL_RCC_GPIOA_CLK_ENABLE();
  __HAL_RCC_GPIOB_CLK_ENABLE();

  /*Configure GPIO pin Output Level */
  HAL_GPIO_WritePin(nRST_DSP_GPIO_Port, nRST_DSP_Pin, GPIO_PIN_SET);

  /*Configure GPIO pin Output Level */
  HAL_GPIO_WritePin(EN_SCK_GPIO_Port, EN_SCK_Pin, GPIO_PIN_RESET);

  /*Configure GPIO pin Output Level */
  HAL_GPIO_WritePin(GPIOA, CSEL_Pin|SR_Pin|FS2_Pin|FS1_Pin, GPIO_PIN_RESET);

  /*Configure GPIO pin Output Level */
  HAL_GPIO_WritePin(GPIO0_GPIO_Port, GPIO0_Pin, GPIO_PIN_RESET);

  /*Configure GPIO pins : nRST_DSP_Pin EN_SCK_Pin */
  GPIO_InitStruct.Pin = nRST_DSP_Pin|EN_SCK_Pin;
  GPIO_InitStruct.Mode = GPIO_MODE_OUTPUT_OD;
  GPIO_InitStruct.Pull = GPIO_PULLUP;
  GPIO_InitStruct.Speed = GPIO_SPEED_FREQ_HIGH;
  HAL_GPIO_Init(GPIOB, &GPIO_InitStruct);

  /*Configure GPIO pins : CSEL_Pin SR_Pin FS2_Pin FS1_Pin */
  GPIO_InitStruct.Pin = CSEL_Pin|SR_Pin|FS2_Pin|FS1_Pin;
  GPIO_InitStruct.Mode = GPIO_MODE_OUTPUT_PP;
  GPIO_InitStruct.Pull = GPIO_PULLUP;
  GPIO_InitStruct.Speed = GPIO_SPEED_FREQ_HIGH;
  HAL_GPIO_Init(GPIOA, &GPIO_InitStruct);

  /*Configure GPIO pin : GPIO0_Pin */
  GPIO_InitStruct.Pin = GPIO0_Pin;
  GPIO_InitStruct.Mode = GPIO_MODE_OUTPUT_PP;
  GPIO_InitStruct.Pull = GPIO_NOPULL;
  GPIO_InitStruct.Speed = GPIO_SPEED_FREQ_LOW;
  HAL_GPIO_Init(GPIO0_GPIO_Port, &GPIO_InitStruct);

  /*Configure GPIO pin : GPIO1_Pin */
  GPIO_InitStruct.Pin = GPIO1_Pin;
  GPIO_InitStruct.Mode = GPIO_MODE_INPUT;
  GPIO_InitStruct.Pull = GPIO_PULLUP;
  HAL_GPIO_Init(GPIO1_GPIO_Port, &GPIO_InitStruct);

}

/* USER CODE BEGIN 4 */
void SIGMA_WRITE_REGISTER_BLOCK(uint16_t devAddress, uint16_t address, uint16_t length, uint8_t *pData)
{
	stat = HAL_I2C_Mem_Write(&hi2c1, devAddress, address, 2, pData, length, 1000);
}

void SIGMA_WRITE_DELAY(uint16_t devAddress, uint16_t length, uint8_t *pData)
{
	HAL_Delay(11);
}

void HAL_ADC_ConvCpltCallback(ADC_HandleTypeDef* hadc)
{
	uint32_t i = 0;
	uint32_t j = 0;
	uint32_t k = 0;

	for(k=VOL_ARRAY; k<ADC_POT; k++) // For volume, loud low, loud high, loud general
	{
		for(i=0; i<30; i++)
		{
			if((i == 0) && (value[k] < (linear_in_table[i+1])-15))
			{
				if(pote[k] != i)
				{
					pote[k] = i;
					flag[k] = 1;
				}
			}
			else if((i > 0) && (i < 29) && (value[k] > (linear_in_table[i]+15)) && (value[k] < (linear_in_table[i+1])-15))
			{
				if(pote[k] != i)
				{
					pote[k] = i;
					flag[k] = 1;
				}
			}
			else if((i == 29) && (value[k] > (linear_in_table[i]+15)))
			{
				if(pote[k] != i)
				{
					pote[k] = i;
					flag[k] = 1;
				}
			}
		}
	}

	for(j=0; j<(VOL_ARRAY); j++) // For filter 32Hz - 16KHz + Subwoofer
	{
		for(i=0; i<30; i++)
		{
			if((i == 0) && (value[j] < (log_in_table[i+1])-15))
			{
				if(pote[j] != i)
				{
					pote[j] = i;
					flag[j] = 1;
				}
			}
			else if((i > 0) && (i < 29) && (value[j] > (log_in_table[i]+15)) && (value[j] < (log_in_table[i+1])-15))
			{
				if(pote[j] != i)
				{
					pote[j] = i;
					flag[j] = 1;
				}
			}
			else if((i == 29) && (value[j] > (log_in_table[i]+15)))
			{
				if(pote[j] != i)
				{
					pote[j] = i;
					flag[j] = 1;
				}
			}
		}

	}

	update = 1;
}

void delay_us(uint16_t us)
{
	htim4.Instance->CNT = 0;
	while((htim4.Instance->CNT) < us);
}

/* USER CODE END 4 */

void Error_Handler(void)
{
  __disable_irq();
  while (1)
  {
  }
}

/************************ (C) COPYRIGHT STMicroelectronics *****END OF FILE****/
